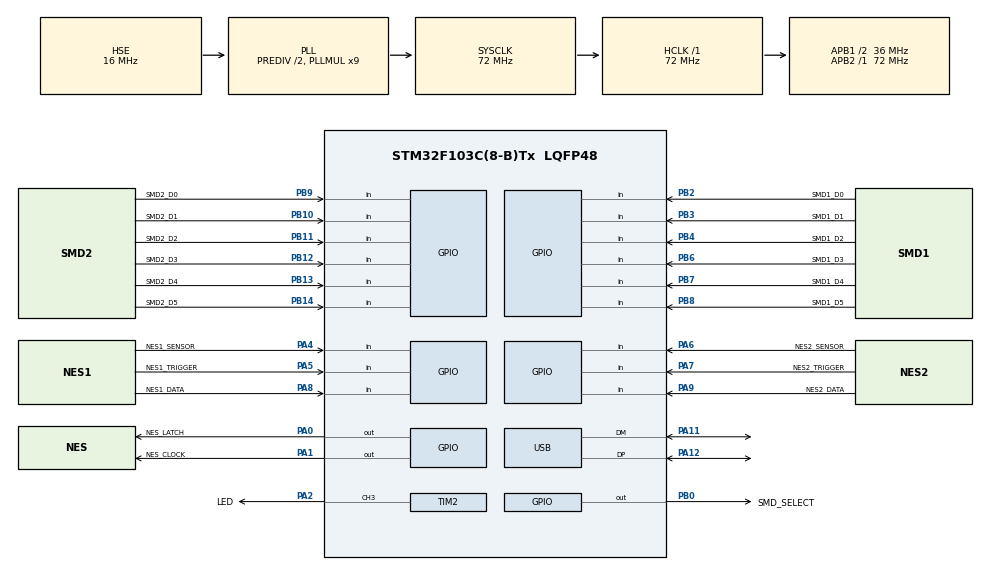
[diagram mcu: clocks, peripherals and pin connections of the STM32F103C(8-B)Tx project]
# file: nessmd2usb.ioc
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Dma.Request0=TIM2_CH3
Dma.TIM2_CH3.0.Direction=DMA_MEMORY_TO_PERIPH
Dma.TIM2_CH3.0.Instance=DMA1_Channel1
Dma.TIM2_CH3.0.MemDataAlignment=DMA_MDATAALIGN_BYTE
Dma.TIM2_CH3.0.MemInc=DMA_MINC_ENABLE
Dma.TIM2_CH3.0.Mode=DMA_NORMAL
Dma.TIM2_CH3.0.PeriphDataAlignment=DMA_PDATAALIGN_HALFWORD
Dma.TIM2_CH3.0.PeriphInc=DMA_PINC_DISABLE
Dma.TIM2_CH3.0.Priority=DMA_PRIORITY_LOW
Mcu.Family=STM32F1
Mcu.Name=STM32F103C(8-B)Tx
Mcu.Package=LQFP48
NVIC.DMA1_Channel1_IRQn=true\:0\:0\:false\:false\:true\:false\:true
NVIC.PriorityGroup=NVIC_PRIORITYGROUP_4
NVIC.USB_LP_CAN1_RX0_IRQn=true\:0\:0\:false\:false\:true\:false\:true
PA0-WKUP.GPIO_Label=NES_LATCH
PA0-WKUP.GPIO_Speed=GPIO_SPEED_FREQ_HIGH
PA0-WKUP.Signal=GPIO_Output
PA1.GPIO_Label=NES_CLOCK
PA1.GPIO_Speed=GPIO_SPEED_FREQ_HIGH
PA1.Signal=GPIO_Output
PA11.Mode=Device
PA11.Signal=USB_DM
PA12.Mode=Device
PA12.Signal=USB_DP
PA13.Mode=Serial_Wire
PA13.Signal=SYS_JTMS-SWDIO
PA14.Mode=Serial_Wire
PA14.Signal=SYS_JTCK-SWCLK
PA2.GPIO_Label=LED
PA2.Signal=S_TIM2_CH3
PA4.GPIO_Label=NES1_SENSOR
PA4.GPIO_PuPd=GPIO_NOPULL
PA4.Signal=GPIO_Input
PA5.GPIO_Label=NES1_TRIGGER
PA5.GPIO_PuPd=GPIO_PULLUP
PA5.Signal=GPIO_Input
PA6.GPIO_Label=NES2_SENSOR
PA6.GPIO_PuPd=GPIO_NOPULL
PA6.Signal=GPIO_Input
PA7.GPIO_Label=NES2_TRIGGER
PA7.GPIO_PuPd=GPIO_PULLUP
PA7.Signal=GPIO_Input
PA8.GPIO_Label=NES1_DATA
PA8.GPIO_PuPd=GPIO_PULLUP
PA8.Signal=GPIO_Input
PA9.GPIO_Label=NES2_DATA
PA9.GPIO_PuPd=GPIO_PULLUP
PA9.Signal=GPIO_Input
PB0.GPIO_Label=SMD_SELECT
PB0.GPIO_Speed=GPIO_SPEED_FREQ_HIGH
PB0.Signal=GPIO_Output
PB10.GPIO_Label=SMD2_D1
PB10.GPIO_PuPd=GPIO_PULLUP
PB10.Signal=GPIO_Input
PB11.GPIO_Label=SMD2_D2
PB11.GPIO_PuPd=GPIO_PULLUP
PB11.Signal=GPIO_Input
PB12.GPIO_Label=SMD2_D3
PB12.GPIO_PuPd=GPIO_PULLUP
PB12.Signal=GPIO_Input
PB13.GPIO_Label=SMD2_D4
PB13.GPIO_PuPd=GPIO_PULLUP
PB13.Signal=GPIO_Input
PB14.GPIO_Label=SMD2_D5
PB14.GPIO_PuPd=GPIO_PULLUP
PB14.Signal=GPIO_Input
PB2.GPIO_Label=SMD1_D0
PB2.GPIO_PuPd=GPIO_PULLUP
PB2.Signal=GPIO_Input
PB3.GPIO_Label=SMD1_D1
PB3.GPIO_PuPd=GPIO_PULLUP
PB3.Signal=GPIO_Input
PB4.GPIO_Label=SMD1_D2
PB4.GPIO_PuPd=GPIO_PULLUP
PB4.Signal=GPIO_Input
PB6.GPIO_Label=SMD1_D3
PB6.GPIO_PuPd=GPIO_PULLUP
PB6.Signal=GPIO_Input
PB7.GPIO_Label=SMD1_D4
PB7.GPIO_PuPd=GPIO_PULLUP
PB7.Signal=GPIO_Input
PB8.GPIO_Label=SMD1_D5
PB8.GPIO_PuPd=GPIO_PULLUP
PB8.Signal=GPIO_Input
PB9.GPIO_Label=SMD2_D0
PB9.GPIO_PuPd=GPIO_PULLUP
PB9.Signal=GPIO_Input
PD0-OSC_IN.Mode=HSE-External-Oscillator
PD0-OSC_IN.Signal=RCC_OSC_IN
PD1-OSC_OUT.Mode=HSE-External-Oscillator
PD1-OSC_OUT.Signal=RCC_OSC_OUT
ProjectManager.HeapSize=0x200
ProjectManager.StackSize=0x400
ProjectManager.TargetToolchain=STM32CubeIDE
RCC.AHBFreq_Value=72000000
RCC.APB1CLKDivider=RCC_HCLK_DIV2
RCC.APB1Freq_Value=36000000
RCC.APB1TimFreq_Value=72000000
RCC.APB2Freq_Value=72000000
RCC.APB2TimFreq_Value=72000000
RCC.HCLKFreq_Value=72000000
RCC.HSEDivPLL=RCC_HSE_PREDIV_DIV2
RCC.HSE_VALUE=16000000
RCC.PLLMUL=RCC_PLL_MUL9
RCC.SYSCLKFreq_VALUE=72000000
RCC.SYSCLKSource=RCC_SYSCLKSOURCE_PLLCLK
RCC.USBFreq_Value=48000000
RCC.USBPrescaler=RCC_USBCLKSOURCE_PLL_DIV1_5
SH.S_TIM2_CH3.0=TIM2_CH3,PWM Generation3 CH3
TIM1.Period=65535
TIM1.Prescaler=71
TIM2.Channel-PWM\ Generation3\ CH3=TIM_CHANNEL_3
TIM2.Period=89
USB_DEVICE.CLASS_NAME_FS=CUSTOM_HID
USB_DEVICE.CUSTOM_HID_FS_BINTERVAL=1
USB_DEVICE.MANUFACTURER_STRING=Cluster
USB_DEVICE.PID_CUSTOMHID_FS=0xDEDA
USB_DEVICE.PRODUCT_STRING_CUSTOMHID_FS=Dendy/Sega gamepad
USB_DEVICE.USBD_CUSTOM_HID_REPORT_DESC_SIZE=188
USB_DEVICE.USBD_SELF_POWERED=0
USB_DEVICE.VID=0x1209
USB_DEVICE.VirtualMode=CustomHid
USB_DEVICE.VirtualModeFS=Custom_Hid_FS
VP_TIM1_VS_ClockSourceINT.Mode=Internal
VP_TIM2_VS_ClockSourceINT.Mode=Internal
VP_USB_DEVICE_VS_USB_DEVICE_CUSTOM_HID_FS.Mode=CUSTOM_HID_FS
board=custom

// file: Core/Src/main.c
/* USER CODE BEGIN Header */
/**
 ******************************************************************************
 * @file           : main.c
 * @brief          : Main program body
 ******************************************************************************
 * @attention
 *
 * <h2><center>&copy; Copyright (c) 2020 STMicroelectronics.
 * All rights reserved.</center></h2>
 *
 * This software component is licensed by ST under BSD 3-Clause license,
 * the "License"; You may not use this file except in compliance with the
 * License. You may obtain a copy of the License at:
 *                        opensource.org/licenses/BSD-3-Clause
 *
 ******************************************************************************
 */
/* USER CODE END Header */
#include "main.h"
#include "usb_device.h"

/* USER CODE BEGIN Includes */
#include "usbd_customhid.h"
#include "gamepad.h"
/* USER CODE END Includes */

/* USER CODE BEGIN PD */
//#define USE_LIGHT_GUN
/* USER CODE END PD */

TIM_HandleTypeDef htim1;
TIM_HandleTypeDef htim2;
DMA_HandleTypeDef hdma_tim2_ch3;

/* USER CODE BEGIN PV */
extern USBD_HandleTypeDef hUsbDeviceFS;
static uint8_t pwm_values[8 * 3 + 1];
/* USER CODE END PV */

void SystemClock_Config(void);
static void MX_GPIO_Init(void);
static void MX_DMA_Init(void);
static void MX_TIM2_Init(void);
static void MX_TIM1_Init(void);

/* USER CODE BEGIN 0 */
static void update_led()
{
  //HAL_Delay(1);
  htim2.Instance->CR1 &= ~TIM_CR1_CEN;
  htim2.Instance->CCR3 = 0;
  htim2.Instance->CNT = 0;
  HAL_TIM_PWM_Start_DMA(&htim2, TIM_CHANNEL_3, (void*) pwm_values, sizeof(pwm_values));
}

static void set_led_color(uint8_t r, uint8_t g, uint8_t b)
{
//  r /= 4;
//  g /= 4;
//  b /= 4;
  uint8_t i;
  const uint8_t led = 0;
  for (i = 0; i < 8; i++)
    pwm_values[led * 8 * 3 + i] = ((r >> (7 - i)) & 1) ? 67 : 22;
  for (i = 0; i < 8; i++)
    pwm_values[led * 8 * 3 + 8 + i] = ((g >> (7 - i)) & 1) ? 67 : 22;
  for (i = 0; i < 8; i++)
    pwm_values[led * 8 * 3 + 16 + i] = ((b >> (7 - i)) & 1) ? 67 : 22;
  update_led();
}

static rgb hsv2rgb(hsv in)
{
  double hh, p, q, t, ff;
  long i;
  rgb out;
  if (in.s <= 0.0)
  {       // < is bogus, just shuts up warnings
    out.r = in.v;
    out.g = in.v;
    out.b = in.v;
    return out;
  }
  hh = in.h;
  while (hh > 360)
    hh -= 360;
  hh /= 60.0;
  i = (long) hh;
  ff = hh - i;
  p = in.v * (1.0 - in.s);
  q = in.v * (1.0 - (in.s * ff));
  t = in.v * (1.0 - (in.s * (1.0 - ff)));

  switch (i)
  {
  case 0:
    out.r = in.v;
    out.g = t;
    out.b = p;
    break;
  case 1:
    out.r = q;
    out.g = in.v;
    out.b = p;
    break;
  case 2:
    out.r = p;
    out.g = in.v;
    out.b = t;
    break;

  case 3:
    out.r = p;
    out.g = q;
    out.b = in.v;
    break;
  case 4:
    out.r = t;
    out.g = p;
    out.b = in.v;
    break;
  case 5:
  default:
    out.r = in.v;
    out.g = p;
    out.b = q;
    break;
  }
  return out;
}

static void set_axes(uint8_t dpad, Gamepad_Report_t *joystick_data)
{
  if (dpad & 1)
    joystick_data->y = -127;
  else if (dpad & 2)
    joystick_data->y = 127;
  else
    joystick_data->y = 0;
  if (dpad & 4)
    joystick_data->x = -127;
  else if (dpad & 8)
    joystick_data->x = 127;
  else
    joystick_data->x = 0;
}
/* USER CODE END 0 */

int main(void)
{

  /* MCU Configuration--------------------------------------------------------*/

  /* Reset of all peripherals, Initializes the Flash interface and the Systick. */
  HAL_Init();

  /* Configure the system clock */
  SystemClock_Config();

  /* Initialize all configured peripherals */
  MX_GPIO_Init();
  MX_DMA_Init();
  MX_USB_DEVICE_Init();
  MX_TIM2_Init();
  MX_TIM1_Init();
  /* USER CODE BEGIN 2 */
  HAL_TIM_Base_Start_IT(&htim1);

  /* USER CODE END 2 */

  /* Infinite loop */
  /* USER CODE BEGIN WHILE */
  Gamepad_Report_t joystick_data;
  uint8_t prev_trigger1 = 1;
  uint8_t prev_sensor1 = 1;
  uint8_t prev_trigger2 = 1;
  uint8_t prev_sensor2 = 1;

  while (1)
  {
    switch (hUsbDeviceFS.dev_state)
    {
    case USBD_STATE_CONFIGURED:
      break;
    case USBD_STATE_ADDRESSED:
      set_led_color(0xFF, 0xFF, 0x00);
      HAL_Delay(1);
      continue;
    default:
      set_led_color(0xFF, 0x00, 0x00);
      HAL_Delay(1);
      continue;
    }

    uint32_t smd_gamepad_data = get_smd_gamepad_decoded();
    uint16_t nes_gamepad_data = get_nes_gamepad_decoded();
#ifdef USE_LIGHT_GUN
    uint8_t trigger1 = HAL_GPIO_ReadPin(NES1_TRIGGER_GPIO_Port, NES1_TRIGGER_Pin);
    uint8_t sensor1 = HAL_GPIO_ReadPin(NES1_SENSOR_GPIO_Port, NES1_SENSOR_Pin);
    uint8_t trigger2 = HAL_GPIO_ReadPin(NES2_TRIGGER_GPIO_Port, NES2_TRIGGER_Pin);
    uint8_t sensor2 = HAL_GPIO_ReadPin(NES2_SENSOR_GPIO_Port, NES2_SENSOR_Pin);
#else
    const uint8_t trigger1 = 0;
    const uint8_t sensor1 = 0;
    const uint8_t trigger2 = 0;
    const uint8_t sensor2 = 0;
#endif

    TIM1->CNT = 0;

    joystick_data.report_id = 1;
    joystick_data.buttons = (nes_gamepad_data & 0x0F) | (trigger1 << 4) | (sensor1 << 5);
    set_axes((nes_gamepad_data >> 4) & 0x0F, &joystick_data);
    USBD_CUSTOM_HID_SendReport(&hUsbDeviceFS, (void*) &joystick_data, sizeof(joystick_data));
    while (((USBD_CUSTOM_HID_HandleTypeDef*) hUsbDeviceFS.pClassData)->state != CUSTOM_HID_IDLE)
    {
      if (TIM1->CNT > 50000)
        break;
    }

    joystick_data.report_id = 2;
    joystick_data.buttons = smd_gamepad_data & 0xFF;
    set_axes((smd_gamepad_data >> 8) & 0x0F, &joystick_data);
    USBD_CUSTOM_HID_SendReport(&hUsbDeviceFS, (void*) &joystick_data, sizeof(joystick_data));
    while (((USBD_CUSTOM_HID_HandleTypeDef*) hUsbDeviceFS.pClassData)->state != CUSTOM_HID_IDLE)
    {
      if (TIM1->CNT > 50000)
        break;
    }

    joystick_data.report_id = 3;
    joystick_data.buttons = ((nes_gamepad_data >> 8) & 0x0F) | (trigger2 << 4) | (sensor2 << 5);
    set_axes((nes_gamepad_data >> 12) & 0x0F, &joystick_data);
    USBD_CUSTOM_HID_SendReport(&hUsbDeviceFS, (void*) &joystick_data, sizeof(joystick_data));
    while (((USBD_CUSTOM_HID_HandleTypeDef*) hUsbDeviceFS.pClassData)->state != CUSTOM_HID_IDLE)
    {
      if (TIM1->CNT > 50000)
        break;
    }

    joystick_data.report_id = 4;
    joystick_data.buttons = (smd_gamepad_data >> 16) & 0xFF;
    set_axes((smd_gamepad_data >> 24) & 0x0F, &joystick_data);
    USBD_CUSTOM_HID_SendReport(&hUsbDeviceFS, (void*) &joystick_data, sizeof(joystick_data));
    while (((USBD_CUSTOM_HID_HandleTypeDef*) hUsbDeviceFS.pClassData)->state != CUSTOM_HID_IDLE)
    {
      if (TIM1->CNT > 50000)
        break;
    }

    if ((sensor1 && !prev_sensor1) || (sensor2 && !prev_sensor2))
    {
      set_led_color(0xFF, 0xFF, 0xFF);
    } else if ((trigger1 && !prev_trigger1) || (trigger2 && !prev_trigger2))
    {
      set_led_color(0x40, 0x40, 0);
    } else
    {
      uint8_t button_count = 0;
      uint8_t i;
      for (i = 0; i < 16; i++)
        if ((nes_gamepad_data >> i) & 1)
          button_count++;
      for (i = 0; i < 32; i++)
        if ((smd_gamepad_data >> i) & 1)
          button_count++;
      hsv v;
      v.h = 100 + button_count * 15;
      v.s = 1;
      v.v = 0.1 + 0.05 * button_count;
      if (v.v > 1)
        v.v = 1;
      rgb r = hsv2rgb(v);
      if (r.r > 1)
        r.r = 1;
      if (r.g > 1)
        r.g = 1;
      if (r.b > 1)
        r.b = 1;
      set_led_color(r.r * 0xFF, r.g * 0xFF, r.b * 0xFF);
    }

    prev_trigger1 = trigger1;
    prev_sensor1 = sensor1;
    prev_trigger2 = trigger2;
    prev_sensor2 = sensor2;

    // 1ms delay
    while (TIM1->CNT < 1000)
    {
    }

    /* USER CODE END WHILE */

  }
}

void SystemClock_Config(void)
{
  RCC_OscInitTypeDef RCC_OscInitStruct = {0};
  RCC_ClkInitTypeDef RCC_ClkInitStruct = {0};
  RCC_PeriphCLKInitTypeDef PeriphClkInit = {0};

  /** Initializes the RCC Oscillators according to the specified parameters
  * in the RCC_OscInitTypeDef structure.
  */
  RCC_OscInitStruct.OscillatorType = RCC_OSCILLATORTYPE_HSE;
  RCC_OscInitStruct.HSEState = RCC_HSE_ON;
  RCC_OscInitStruct.HSEPredivValue = RCC_HSE_PREDIV_DIV2;
  RCC_OscInitStruct.HSIState = RCC_HSI_ON;
  RCC_OscInitStruct.PLL.PLLState = RCC_PLL_ON;
  RCC_OscInitStruct.PLL.PLLSource = RCC_PLLSOURCE_HSE;
  RCC_OscInitStruct.PLL.PLLMUL = RCC_PLL_MUL9;
  if (HAL_RCC_OscConfig(&RCC_OscInitStruct) != HAL_OK)
  {
    Error_Handler();
  }
  /** Initializes the CPU, AHB and APB buses clocks
  */
  RCC_ClkInitStruct.ClockType = RCC_CLOCKTYPE_HCLK|RCC_CLOCKTYPE_SYSCLK
                              |RCC_CLOCKTYPE_PCLK1|RCC_CLOCKTYPE_PCLK2;
  RCC_ClkInitStruct.SYSCLKSource = RCC_SYSCLKSOURCE_PLLCLK;
  RCC_ClkInitStruct.AHBCLKDivider = RCC_SYSCLK_DIV1;
  RCC_ClkInitStruct.APB1CLKDivider = RCC_HCLK_DIV2;
  RCC_ClkInitStruct.APB2CLKDivider = RCC_HCLK_DIV1;

  if (HAL_RCC_ClockConfig(&RCC_ClkInitStruct, FLASH_LATENCY_2) != HAL_OK)
  {
    Error_Handler();
  }
  PeriphClkInit.PeriphClockSelection = RCC_PERIPHCLK_USB;
  PeriphClkInit.UsbClockSelection = RCC_USBCLKSOURCE_PLL_DIV1_5;
  if (HAL_RCCEx_PeriphCLKConfig(&PeriphClkInit) != HAL_OK)
  {
    Error_Handler();
  }
}

static void MX_TIM1_Init(void)
{

  TIM_ClockConfigTypeDef sClockSourceConfig = {0};
  TIM_MasterConfigTypeDef sMasterConfig = {0};

  htim1.Instance = TIM1;
  htim1.Init.Prescaler = 71;
  htim1.Init.CounterMode = TIM_COUNTERMODE_UP;
  htim1.Init.Period = 65535;
  htim1.Init.ClockDivision = TIM_CLOCKDIVISION_DIV1;
  htim1.Init.RepetitionCounter = 0;
  htim1.Init.AutoReloadPreload = TIM_AUTORELOAD_PRELOAD_DISABLE;
  if (HAL_TIM_Base_Init(&htim1) != HAL_OK)
  {
    Error_Handler();
  }
  sClockSourceConfig.ClockSource = TIM_CLOCKSOURCE_INTERNAL;
  if (HAL_TIM_ConfigClockSource(&htim1, &sClockSourceConfig) != HAL_OK)
  {
    Error_Handler();
  }
  sMasterConfig.MasterOutputTrigger = TIM_TRGO_RESET;
  sMasterConfig.MasterSlaveMode = TIM_MASTERSLAVEMODE_DISABLE;
  if (HAL_TIMEx_MasterConfigSynchronization(&htim1, &sMasterConfig) != HAL_OK)
  {
    Error_Handler();
  }

}

static void MX_TIM2_Init(void)
{

  TIM_ClockConfigTypeDef sClockSourceConfig = {0};
  TIM_MasterConfigTypeDef sMasterConfig = {0};
  TIM_OC_InitTypeDef sConfigOC = {0};

  htim2.Instance = TIM2;
  htim2.Init.Prescaler = 0;
  htim2.Init.CounterMode = TIM_COUNTERMODE_UP;
  htim2.Init.Period = 89;
  htim2.Init.ClockDivision = TIM_CLOCKDIVISION_DIV1;
  htim2.Init.AutoReloadPreload = TIM_AUTORELOAD_PRELOAD_DISABLE;
  if (HAL_TIM_Base_Init(&htim2) != HAL_OK)
  {
    Error_Handler();
  }
  sClockSourceConfig.ClockSource = TIM_CLOCKSOURCE_INTERNAL;
  if (HAL_TIM_ConfigClockSource(&htim2, &sClockSourceConfig) != HAL_OK)
  {
    Error_Handler();
  }
  if (HAL_TIM_PWM_Init(&htim2) != HAL_OK)
  {
    Error_Handler();
  }
  sMasterConfig.MasterOutputTrigger = TIM_TRGO_RESET;
  sMasterConfig.MasterSlaveMode = TIM_MASTERSLAVEMODE_DISABLE;
  if (HAL_TIMEx_MasterConfigSynchronization(&htim2, &sMasterConfig) != HAL_OK)
  {
    Error_Handler();
  }
  sConfigOC.OCMode = TIM_OCMODE_PWM1;
  sConfigOC.Pulse = 0;
  sConfigOC.OCPolarity = TIM_OCPOLARITY_HIGH;
  sConfigOC.OCFastMode = TIM_OCFAST_DISABLE;
  if (HAL_TIM_PWM_ConfigChannel(&htim2, &sConfigOC, TIM_CHANNEL_3) != HAL_OK)
  {
    Error_Handler();
  }
  HAL_TIM_MspPostInit(&htim2);

}

static void MX_DMA_Init(void)
{

  /* DMA controller clock enable */
  __HAL_RCC_DMA1_CLK_ENABLE();

  /* DMA interrupt init */
  /* DMA1_Channel1_IRQn interrupt configuration */
  HAL_NVIC_SetPriority(DMA1_Channel1_IRQn, 0, 0);
  HAL_NVIC_EnableIRQ(DMA1_Channel1_IRQn);

}

static void MX_GPIO_Init(void)
{
  GPIO_InitTypeDef GPIO_InitStruct = {0};

  /* GPIO Ports Clock Enable */
  __HAL_RCC_GPIOD_CLK_ENABLE();
  __HAL_RCC_GPIOA_CLK_ENABLE();
  __HAL_RCC_GPIOB_CLK_ENABLE();

  /*Configure GPIO pin Output Level */
  HAL_GPIO_WritePin(GPIOA, NES_LATCH_Pin|NES_CLOCK_Pin, GPIO_PIN_RESET);

  /*Configure GPIO pin Output Level */
  HAL_GPIO_WritePin(SMD_SELECT_GPIO_Port, SMD_SELECT_Pin, GPIO_PIN_RESET);

  /*Configure GPIO pins : NES_LATCH_Pin NES_CLOCK_Pin */
  GPIO_InitStruct.Pin = NES_LATCH_Pin|NES_CLOCK_Pin;
  GPIO_InitStruct.Mode = GPIO_MODE_OUTPUT_PP;
  GPIO_InitStruct.Pull = GPIO_NOPULL;
  GPIO_InitStruct.Speed = GPIO_SPEED_FREQ_HIGH;
  HAL_GPIO_Init(GPIOA, &GPIO_InitStruct);

  /*Configure GPIO pins : NES1_SENSOR_Pin NES2_SENSOR_Pin */
  GPIO_InitStruct.Pin = NES1_SENSOR_Pin|NES2_SENSOR_Pin;
  GPIO_InitStruct.Mode = GPIO_MODE_INPUT;
  GPIO_InitStruct.Pull = GPIO_NOPULL;
  HAL_GPIO_Init(GPIOA, &GPIO_InitStruct);

  /*Configure GPIO pins : NES1_TRIGGER_Pin NES2_TRIGGER_Pin NES1_DATA_Pin NES2_DATA_Pin */
  GPIO_InitStruct.Pin = NES1_TRIGGER_Pin|NES2_TRIGGER_Pin|NES1_DATA_Pin|NES2_DATA_Pin;
  GPIO_InitStruct.Mode = GPIO_MODE_INPUT;
  GPIO_InitStruct.Pull = GPIO_PULLUP;
  HAL_GPIO_Init(GPIOA, &GPIO_InitStruct);

  /*Configure GPIO pin : SMD_SELECT_Pin */
  GPIO_InitStruct.Pin = SMD_SELECT_Pin;
  GPIO_InitStruct.Mode = GPIO_MODE_OUTPUT_PP;
  GPIO_InitStruct.Pull = GPIO_NOPULL;
  GPIO_InitStruct.Speed = GPIO_SPEED_FREQ_HIGH;
  HAL_GPIO_Init(SMD_SELECT_GPIO_Port, &GPIO_InitStruct);

  /*Configure GPIO pins : SMD1_D0_Pin SMD2_D1_Pin SMD2_D2_Pin SMD2_D3_Pin
                           SMD2_D4_Pin SMD2_D5_Pin SMD1_D1_Pin SMD1_D2_Pin
                           SMD1_D3_Pin SMD1_D4_Pin SMD1_D5_Pin SMD2_D0_Pin */
  GPIO_InitStruct.Pin = SMD1_D0_Pin|SMD2_D1_Pin|SMD2_D2_Pin|SMD2_D3_Pin
                          |SMD2_D4_Pin|SMD2_D5_Pin|SMD1_D1_Pin|SMD1_D2_Pin
                          |SMD1_D3_Pin|SMD1_D4_Pin|SMD1_D5_Pin|SMD2_D0_Pin;
  GPIO_InitStruct.Mode = GPIO_MODE_INPUT;
  GPIO_InitStruct.Pull = GPIO_PULLUP;
  HAL_GPIO_Init(GPIOB, &GPIO_InitStruct);

}

void Error_Handler(void)
{
}

/************************ (C) COPYRIGHT STMicroelectronics *****END OF FILE****/
